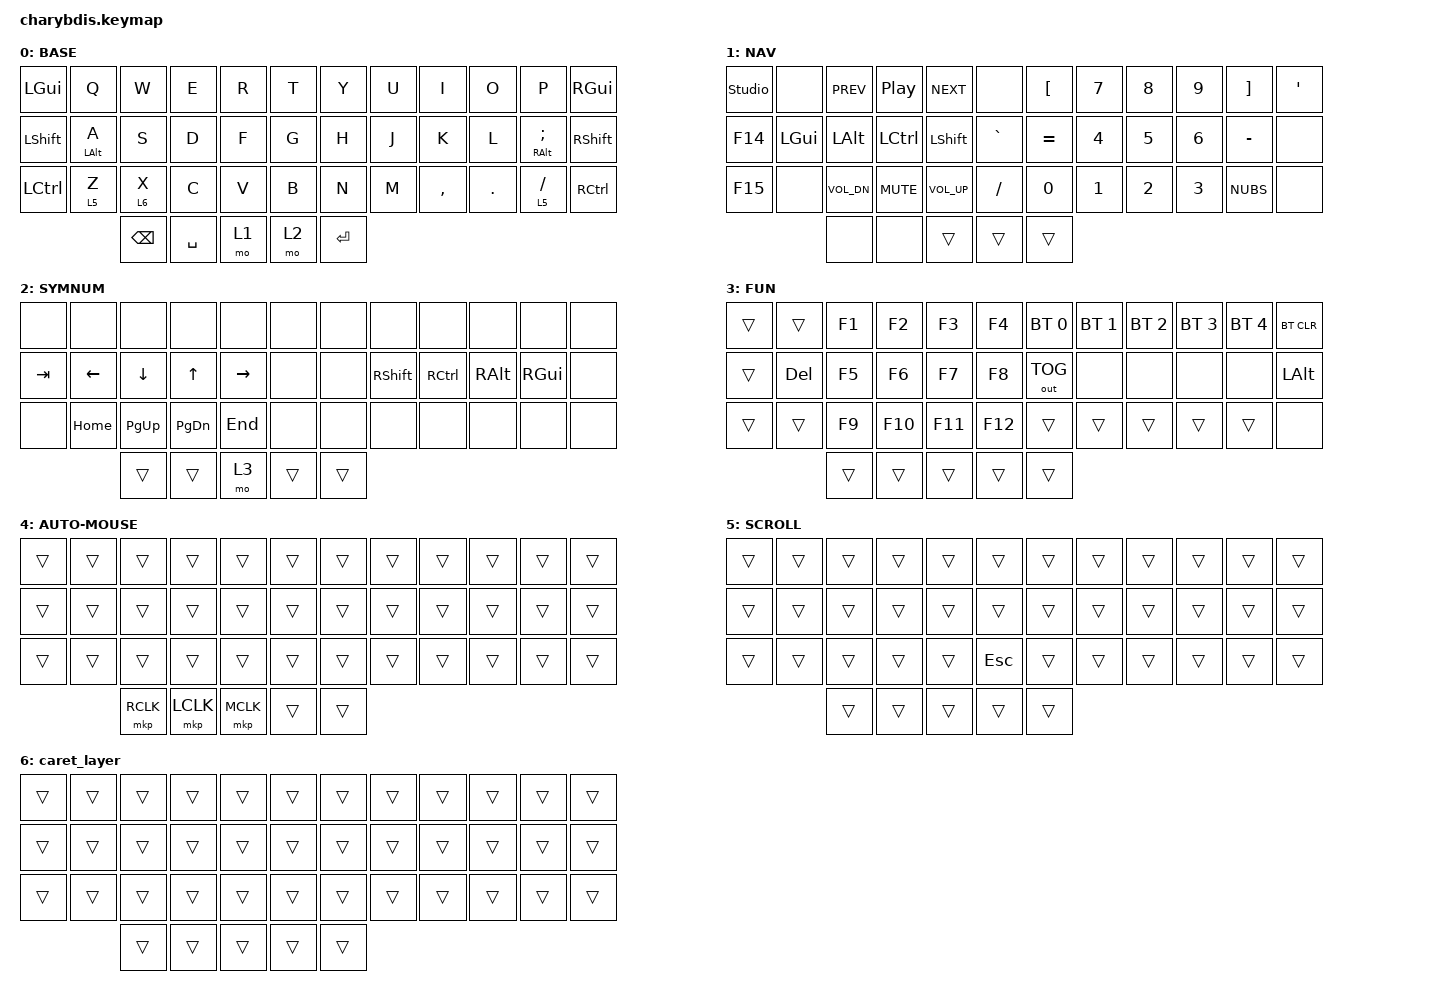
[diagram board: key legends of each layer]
#include <behaviors.dtsi>
#include <dt-bindings/zmk/keys.h>
#include <dt-bindings/zmk/bt.h>
#include <dt-bindings/zmk/ext_power.h>
#include <dt-bindings/zmk/mouse.h>
#include <dt-bindings/zmk/outputs.h>
#include <input/processors.dtsi>
#include <input/processors/zmk-input-processor-keybind.dtsi>
#include <dt-bindings/zmk/input_transform.h>

#define U_TAPPING_TERM 200

/ {
    // Convert trackball movement into discrete arrow-key taps in CARET mode.
    zip_caret_keys: zip_caret_keys {
        compatible = "zmk,input-processor-keybind";
        #input-processor-cells = <0>;
        track-remainders;
        bindings = <&kp RIGHT>, <&kp LEFT>, <&kp DOWN>, <&kp UP>;
        mode = <1>;
        tick = <40>;
        tap-ms = <10>;
    };

    trackball_listener {
        compatible = "zmk,input-listener";
        device = <&trackball>;
        input-processors = <&zip_xy_scaler 2 3>, <&zip_temp_layer 4 400>; // Reduce PMW3610 pointer movement to two thirds; switch to auto-mouse temp layer
        scroll {
            layers = <5>; // SCROLL
            input-processors = <&zip_xy_scaler 1 10>, <&zip_xy_to_scroll_mapper>, <&zip_scroll_transform (INPUT_TRANSFORM_Y_INVERT)>;
        };
        caret {
            layers = <6>; // CARET
            input-processors = <&zip_caret_keys>;
        };
    };

     combos {
        compatible = "zmk,combos";

        ParaLeft {
            bindings = <&kp LEFT_PARENTHESIS>;
            key-positions = <4 16>;
            layers = <0>;
            timeout-ms = <35>;
            require-prior-idle-ms = <125>;
        };

        ParaRight {
            bindings = <&kp RIGHT_PARENTHESIS>;
            key-positions = <7 19>;
            layers = <0>;
            timeout-ms = <35>;
            require-prior-idle-ms = <125>;
        };

        BrakLeft {
            bindings = <&kp LEFT_BRACKET>;
            key-positions = <3 15>;
            layers = <0>;
            timeout-ms = <35>;
            require-prior-idle-ms = <125>;
        };

        BrakRight {
            bindings = <&kp RIGHT_BRACKET>;
            key-positions = <8 20>;
            layers = <0>;
            timeout-ms = <35>;
            require-prior-idle-ms = <125>;
        };

        BraceLeft {
            bindings = <&kp LEFT_BRACE>;
            key-positions = <2 14>;
            layers = <0>;
            timeout-ms = <35>;
            require-prior-idle-ms = <125>;
        };

        BraceRight {
            bindings = <&kp RIGHT_BRACE>;
            key-positions = <9 21>;
            layers = <0>;
            timeout-ms = <35>;
            require-prior-idle-ms = <125>;
        };

        Delete {
            bindings = <&kp DELETE>;
            key-positions = <8 9>;
            layers = <0>;
            timeout-ms = <35>;
            require-prior-idle-ms = <125>;
        };

        CapsWord {
            bindings = <&caps_word>;
            key-positions = <17 18>;
            layers = <0>;
            timeout-ms = <35>;
            require-prior-idle-ms = <125>;
        };
    };

    behaviors {
        u_mt: u_mt {
            compatible = "zmk,behavior-hold-tap";
            #binding-cells = <2>;
            tapping_term_ms = <U_TAPPING_TERM>;
            flavor = "tap-preferred";
            bindings = <&kp>, <&kp>;
        };

        u_lt: u_lt {
            compatible = "zmk,behavior-hold-tap";
            #binding-cells = <2>;
            tapping_term_ms = <U_TAPPING_TERM>;
            flavor = "tap-preferred";
            bindings = <&mo>, <&kp>;
        };

        Shift_Enter: Shift_Enter {
            compatible = "zmk,behavior-hold-tap";
            bindings = <&kp>, <&kp>;

            #binding-cells = <2>;
            hold-trigger-key-positions = <40>;
            tapping-term-ms = <100>;
        };
    };

    keymap {
        compatible = "zmk,keymap";

        BASE {   
            bindings = <
&kp LGUI    &kp Q          &kp W      &kp E      &kp R                       &kp T      &kp Y      &kp U   &kp I        &kp O      &kp P              &kp RGUI
&kp LSHIFT  &u_mt LALT A     &kp S      &kp D      &kp F                       &kp G      &kp H      &kp J   &kp K        &kp L      &u_mt RALT SEMI    &kp RSHIFT
&kp LCTRL   &u_lt 5 Z      &u_lt 6 X  &kp C      &kp V                       &kp B      &kp N      &kp M   &kp COMMA    &kp DOT    &u_lt 5 FSLH       &kp RCTRL
                           &kp BSPC   &kp SPACE  &mo 1                       &mo 2      &kp RET
            >;
        };

        NAV {
            bindings = <
&studio_unlock      &none      &kp C_PREV       &kp C_PP        &kp C_NEXT      &none                       &kp LBKT     &kp N7   &kp N8   &kp N9   &kp RBKT    &kp SQT
&kp F14             &kp LGUI   &kp LALT         &kp LCTRL       &kp LSHIFT       &kp GRAVE                   &kp EQUAL    &kp N4   &kp N5   &kp N6   &kp MINUS   &none
&kp F15             &none      &kp C_VOL_DN     &kp C_MUTE      &kp C_VOL_UP    &kp SLASH                   &kp N0       &kp N1   &kp N2   &kp N3   &kp NUBS    &none
                                                &none           &none           &trans                      &trans       &trans
            >;
        };

        SYMNUM {
            bindings = <
&none      &none       &none        &none        &none          &none                    &none    &none         &none        &none       &none       &none
&kp TAB    &kp LEFT    &kp DOWN     &kp UP       &kp RIGHT      &none                    &none    &kp RSHIFT    &kp RCTRL    &kp RALT    &kp RGUI    &none
&none      &kp HOME    &kp PG_UP    &kp PG_DN    &kp END        &none                    &none    &none         &none        &none       &none       &none
                                    &trans       &trans         &mo 3                    &trans   &trans
            >;
        };

        FUN {
            bindings = <
&trans  &trans   &kp F1  &kp F2   &kp F3   &kp F4             &bt BT_SEL 0  &bt BT_SEL 1      &bt BT_SEL 2   &bt BT_SEL 3     &bt BT_SEL 4   &bt BT_CLR
&trans  &kp DEL  &kp F5  &kp F6   &kp F7   &kp F8             &out OUT_TOG  &none             &none          &none            &none          &kp LALT
&trans  &trans   &kp F9  &kp F10  &kp F11  &kp F12            &trans        &trans            &trans         &trans           &trans         &none
                         &trans   &trans   &trans             &trans        &trans
            >;
        };

        AUTO-MOUSE {
            bindings = <
&trans  &trans  &trans  &trans     &trans  &trans             &trans  &trans  &trans  &trans  &trans  &trans
&trans  &trans  &trans  &trans     &trans  &trans             &trans  &trans  &trans  &trans  &trans  &trans
&trans  &trans  &trans  &trans     &trans  &trans             &trans  &trans  &trans  &trans  &trans  &trans
                        &mkp RCLK  &mkp LCLK  &mkp MCLK         &trans  &trans
            >;
        };

        SCROLL {
            bindings = <
&trans  &trans  &trans  &trans  &trans  &trans               &trans  &trans  &trans  &trans  &trans  &trans
&trans  &trans  &trans  &trans  &trans  &trans               &trans  &trans  &trans  &trans  &trans  &trans
&trans  &trans  &trans  &trans  &trans  &kp ESC              &trans  &trans  &trans  &trans  &trans  &trans
                        &trans  &trans  &trans               &trans  &trans
            >;
        };

        caret_layer {
            bindings = <
&trans  &trans  &trans  &trans  &trans  &trans             &trans  &trans  &trans  &trans  &trans  &trans
&trans  &trans  &trans  &trans  &trans  &trans             &trans  &trans  &trans  &trans  &trans  &trans
&trans  &trans  &trans  &trans  &trans  &trans             &trans  &trans  &trans  &trans  &trans  &trans
                        &trans  &trans  &trans             &trans  &trans
            >;
        };
    };
};
